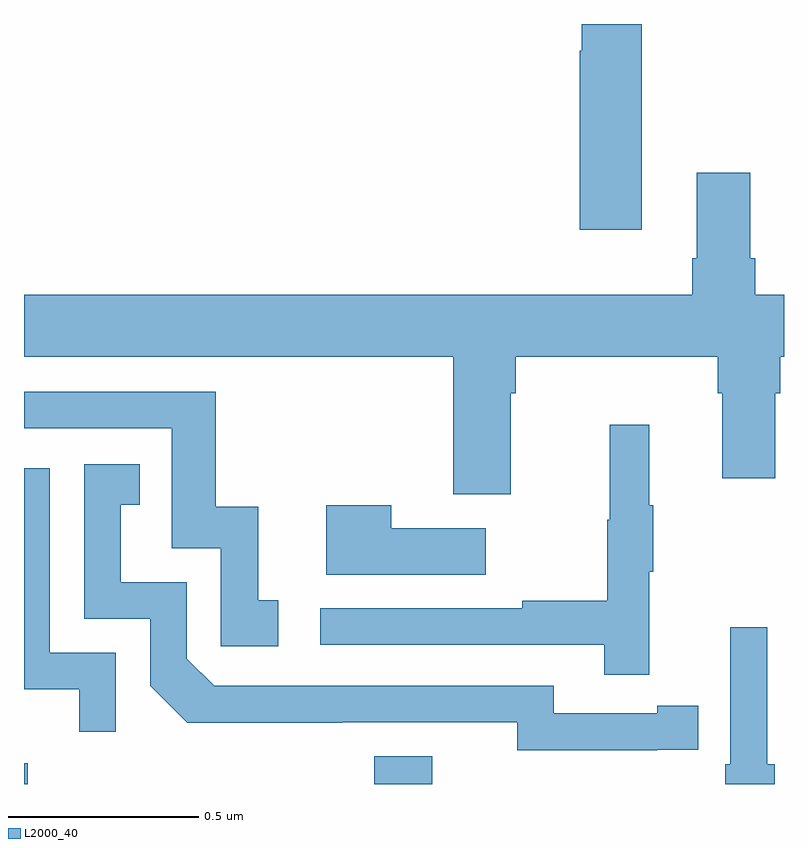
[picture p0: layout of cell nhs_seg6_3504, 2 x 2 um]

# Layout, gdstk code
import gdstk
lib = gdstk.Library(unit=1e-6, precision=1e-09)
def R(c, l, rs):  # rectangles x0, y0, x1, y1
    for r in rs: c.add(gdstk.rectangle(r[:2], r[2:], *l))
def P(c, l, *ps):  # polygons
    for p in ps: c.add(gdstk.Polygon(p, *l))
L2000_40 = (2000, 40)

nhs_seg6_3504 = lib.new_cell('nhs_seg6_3504')
R(nhs_seg6_3504, L2000_40, [(157,991.5,157.01,991.554), (157.922,991.5,158.074,991.573)])
P(nhs_seg6_3504, L2000_40, [(158.626,993.5),(158.468,993.5),(158.468,993.429),(158.462,993.429),(158.462,992.958),(158.626,992.958)],
  [(158.281,992.528),(158.294,992.528),(158.294,992.624),(158.825,992.624),(158.825,992.528),(158.837,992.528),(158.837,992.304),(158.977,992.304),(158.977,992.528),(158.99,992.528),(158.99,992.624),(159,992.624),(159,992.788),(158.924,992.788),(158.924,992.884),(158.911,992.884),(158.911,993.109),(158.771,993.109),(158.771,992.884),(158.759,992.884),(158.759,992.788),(157,992.788),(157,992.624),(158.129,992.624),(158.129,992.262),(158.281,992.262)],
  [(157.669,991.983),(157.616,991.983),(157.616,992.23),(157.505,992.23),(157.505,992.532),(157,992.532),(157,992.436),(157.389,992.436),(157.389,992.121),(157.518,992.121),(157.518,991.863),(157.669,991.863)],
  [(158.645,992.059),(158.656,992.059),(158.656,992.233),(158.645,992.233),(158.645,992.446),(158.542,992.446),(158.542,992.196),(158.535,992.196),(158.535,991.982),(158.311,991.982),(158.311,991.962),(157.779,991.962),(157.779,991.866),(158.527,991.866),(158.527,991.788),(158.645,991.788)],
  [(158.666,991.59),(158.774,991.59),(158.774,991.706),(158.666,991.706),(158.666,991.686),(158.394,991.686),(158.394,991.758),(157.5,991.758),(157.428,991.83),(157.428,992.031),(157.255,992.031),(157.255,992.235),(157.304,992.235),(157.304,992.341),(157.158,992.341),(157.158,991.935),(157.332,991.935),(157.332,991.758),(157.43,991.661),(157.838,991.661),(157.838,991.662),(158.298,991.662),(158.298,991.589),(158.666,991.589)],
  [(157.242,991.845),(157.068,991.845),(157.068,992.331),(157,992.331),(157,991.749),(157.145,991.749),(157.145,991.638),(157.242,991.638)],
  [(158.215,992.173),(157.967,992.173),(157.967,992.233),(157.796,992.233),(157.796,992.051),(158.215,992.051)],
  [(158.975,991.552),(158.956,991.552),(158.956,991.912),(158.859,991.912),(158.859,991.552),(158.846,991.552),(158.846,991.5),(158.975,991.5)])

lib.write_gds('nhs_seg6_3504.gds')
